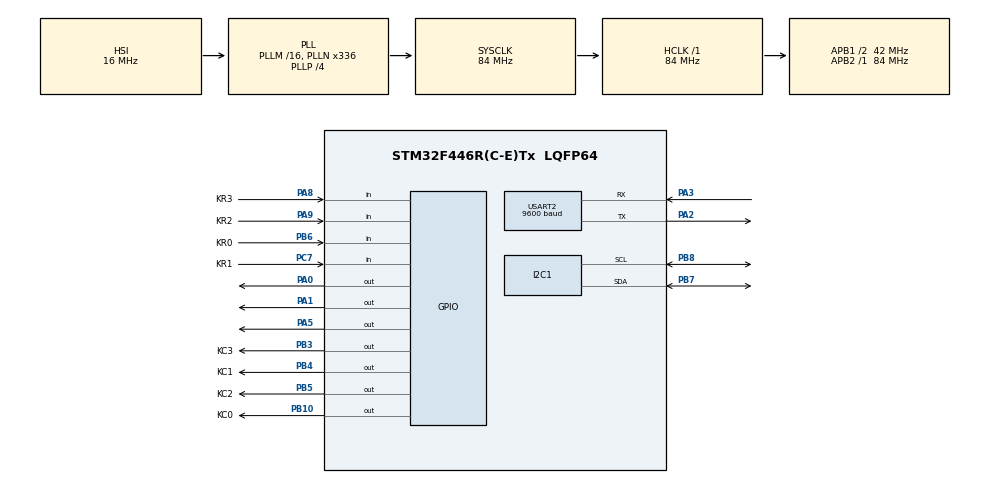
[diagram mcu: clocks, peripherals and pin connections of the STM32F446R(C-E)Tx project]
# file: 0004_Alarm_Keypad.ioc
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FREERTOS.Mutexes01=keypadMytexHandle,Dynamic,NULL;displayMutexHandle,Dynamic,NULL
FREERTOS.Tasks01=defaultTask,0,128,StartDefaultTask,Default,NULL,Dynamic,NULL,NULL;Task1,-3,128,StartTask01,Default,NULL,Dynamic,NULL,NULL;Task2,-3,128,StartTask02,Default,NULL,Dynamic,NULL,NULL;Task3,-3,128,StartTask03,Default,NULL,Dynamic,NULL,NULL
I2C1.I2C_Mode=I2C_Fast
Mcu.Family=STM32F4
Mcu.Name=STM32F446R(C-E)Tx
Mcu.Package=LQFP64
NVIC.PriorityGroup=NVIC_PRIORITYGROUP_4
NVIC.TIM6_DAC_IRQn=true\:0\:0\:false\:false\:true\:false\:false\:true\:true
NVIC.TimeBase=TIM6_DAC_IRQn
NVIC.TimeBaseIP=TIM6
PA0-WKUP.Signal=GPIO_Output
PA1.Signal=GPIO_Output
PA13.Mode=Serial_Wire
PA13.Signal=SYS_JTMS-SWDIO
PA14.Mode=Serial_Wire
PA14.Signal=SYS_JTCK-SWCLK
PA2.Mode=Asynchronous
PA2.Signal=USART2_TX
PA3.Mode=Asynchronous
PA3.Signal=USART2_RX
PA5.Signal=GPIO_Output
PA8.GPIO_Label=KR3
PA8.GPIO_PuPd=GPIO_PULLDOWN
PA8.Signal=GPIO_Input
PA9.GPIO_Label=KR2
PA9.GPIO_PuPd=GPIO_PULLDOWN
PA9.Signal=GPIO_Input
PB10.GPIO_Label=KC0
PB10.Signal=GPIO_Output
PB3.GPIO_Label=KC3
PB3.Signal=GPIO_Output
PB4.GPIO_Label=KC1
PB4.Signal=GPIO_Output
PB5.GPIO_Label=KC2
PB5.Signal=GPIO_Output
PB6.GPIO_Label=KR0
PB6.GPIO_PuPd=GPIO_PULLDOWN
PB6.Signal=GPIO_Input
PB7.Mode=I2C
PB7.Signal=I2C1_SDA
PB8.Mode=I2C
PB8.Signal=I2C1_SCL
PC14-OSC32_IN.Mode=LSE-External-Oscillator
PC14-OSC32_IN.Signal=RCC_OSC32_IN
PC15-OSC32_OUT.Mode=LSE-External-Oscillator
PC15-OSC32_OUT.Signal=RCC_OSC32_OUT
PC7.GPIO_Label=KR1
PC7.GPIO_PuPd=GPIO_PULLDOWN
PC7.Signal=GPIO_Input
PH0-OSC_IN.Mode=HSE-External-Oscillator
PH0-OSC_IN.Signal=RCC_OSC_IN
PH1-OSC_OUT.Mode=HSE-External-Oscillator
PH1-OSC_OUT.Signal=RCC_OSC_OUT
ProjectManager.HeapSize=0x200
ProjectManager.StackSize=0x400
ProjectManager.TargetToolchain=STM32CubeIDE
RCC.48MHZClocksFreq_Value=84000000
RCC.AHBFreq_Value=84000000
RCC.APB1CLKDivider=RCC_HCLK_DIV2
RCC.APB1Freq_Value=42000000
RCC.APB1TimFreq_Value=84000000
RCC.APB2Freq_Value=84000000
RCC.APB2TimFreq_Value=84000000
RCC.CortexFreq_Value=84000000
RCC.FLatency-AdvancedSettings=FLASH_LATENCY_2
RCC.HCLKFreq_Value=84000000
RCC.HSE_VALUE=8000000
RCC.HSI_VALUE=16000000
RCC.PLLN=336
RCC.PLLP=RCC_PLLP_DIV4
RCC.SYSCLKFreq_VALUE=84000000
RCC.SYSCLKSource=RCC_SYSCLKSOURCE_PLLCLK
RCC.USBFreq_Value=168000000
RCC.VCOOutputFreq_Value=336000000
USART2.BaudRate=9600
USART2.VirtualMode=VM_ASYNC
VP_FREERTOS_VS_CMSIS_V1.Mode=CMSIS_V1
VP_SYS_VS_tim6.Mode=TIM6
board=NUCLEO-F446RE

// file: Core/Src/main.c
/* USER CODE BEGIN Header */
/**
  **************************
  * @file           : main.c
  * @brief          : Main program body
  **************************
  * @attention
  *
  * Copyright (c) 2024 STMicroelectronics.
  * All rights reserved.
  *
  * This software is licensed under terms that can be found in the LICENSE file
  * in the root directory of this software component.
  * If no LICENSE file comes with this software, it is provided AS-IS.
  *
  **************************
  */
/* USER CODE END Header */
#include "main.h"
#include "cmsis_os.h"

/* USER CODE BEGIN Includes */
#include "Keypad4X4.h"
#include <stdio.h>
#include <string.h>
#include <stdlib.h>
#include "fonts.h"
#include "ssd1306.h"
#include "cmsis_os.h"

/* USER CODE END Includes */

I2C_HandleTypeDef hi2c1;

UART_HandleTypeDef huart2;

osThreadId defaultTaskHandle;
osThreadId Task1Handle;
osThreadId Task2Handle;
osThreadId Task3Handle;
osMutexId keypadMytexHandleHandle;
osMutexId displayMutexHandleHandle;
/* USER CODE BEGIN PV */
extern char key;
char hold[4];
char code[] = "0000"; // Setup code
char enteredUserCode[5];
int codeLength = 0;
int armed = 1;
/* USER CODE END PV */

void SystemClock_Config(void);
static void MX_GPIO_Init(void);
static void MX_USART2_UART_Init(void);
static void MX_I2C1_Init(void);
void StartDefaultTask(void const * argument);
void StartTask01(void const * argument);
void StartTask02(void const * argument);
void StartTask03(void const * argument);

int main(void)
{

  /* MCU Configuration--------------------------------------------------------*/

  /* Reset of all peripherals, Initializes the Flash interface and the Systick. */
  HAL_Init();

  /* Configure the system clock */
  SystemClock_Config();

  /* Initialize all configured peripherals */
  MX_GPIO_Init();
  MX_USART2_UART_Init();
  MX_I2C1_Init();
  /* USER CODE BEGIN 2 */
  /* USER CODE BEGIN 2 */
    SSD1306_Init();
    SSD1306_GotoXY (0,0);
    //SSD1306_Puts ("Voltage:", &Font_11x18, 1);
    SSD1306_Puts ("Enter Code:", &Font_11x18, 1);
    SSD1306_GotoXY (0, 30);
    //SSD1306_Puts (code, &Font_11x18, 1);
    SSD1306_UpdateScreen();
    SSD1306_UpdateScreen();

    HAL_GPIO_WritePin(GPIOC, GPIO_PIN_2, GPIO_PIN_SET);
    HAL_GPIO_WritePin(GPIOC, GPIO_PIN_3, GPIO_PIN_RESET);

    HAL_Delay (500);

  /* USER CODE END 2 */

  /* Create the mutex(es) */
  /* definition and creation of keypadMytexHandle */
  osMutexDef(keypadMytexHandle);
  keypadMytexHandleHandle = osMutexCreate(osMutex(keypadMytexHandle));

  /* definition and creation of displayMutexHandle */
  osMutexDef(displayMutexHandle);
  displayMutexHandleHandle = osMutexCreate(osMutex(displayMutexHandle));

  /* Create the thread(s) */
  /* definition and creation of defaultTask */
  osThreadDef(defaultTask, StartDefaultTask, osPriorityNormal, 0, 128);
  defaultTaskHandle = osThreadCreate(osThread(defaultTask), NULL);

  /* definition and creation of Task1 */
  osThreadDef(Task1, StartTask01, osPriorityIdle, 0, 128);
  Task1Handle = osThreadCreate(osThread(Task1), NULL);

  /* definition and creation of Task2 */
  osThreadDef(Task2, StartTask02, osPriorityIdle, 0, 128);
  Task2Handle = osThreadCreate(osThread(Task2), NULL);

  /* definition and creation of Task3 */
  osThreadDef(Task3, StartTask03, osPriorityIdle, 0, 128);
  Task3Handle = osThreadCreate(osThread(Task3), NULL);

  /* Start scheduler */
  osKernelStart();

  /* We should never get here as control is now taken by the scheduler */
  /* Infinite loop */
  /* USER CODE BEGIN WHILE */
  while (1)
  {

  }
  /* USER CODE END 3 */
}

void SystemClock_Config(void)
{
  RCC_OscInitTypeDef RCC_OscInitStruct = {0};
  RCC_ClkInitTypeDef RCC_ClkInitStruct = {0};

  /** Configure the main internal regulator output voltage
  */
  __HAL_RCC_PWR_CLK_ENABLE();
  __HAL_PWR_VOLTAGESCALING_CONFIG(PWR_REGULATOR_VOLTAGE_SCALE3);

  /** Initializes the RCC Oscillators according to the specified parameters
  * in the RCC_OscInitTypeDef structure.
  */
  RCC_OscInitStruct.OscillatorType = RCC_OSCILLATORTYPE_HSI;
  RCC_OscInitStruct.HSIState = RCC_HSI_ON;
  RCC_OscInitStruct.HSICalibrationValue = RCC_HSICALIBRATION_DEFAULT;
  RCC_OscInitStruct.PLL.PLLState = RCC_PLL_ON;
  RCC_OscInitStruct.PLL.PLLSource = RCC_PLLSOURCE_HSI;
  RCC_OscInitStruct.PLL.PLLM = 16;
  RCC_OscInitStruct.PLL.PLLN = 336;
  RCC_OscInitStruct.PLL.PLLP = RCC_PLLP_DIV4;
  RCC_OscInitStruct.PLL.PLLQ = 2;
  RCC_OscInitStruct.PLL.PLLR = 2;
  if (HAL_RCC_OscConfig(&RCC_OscInitStruct) != HAL_OK)
  {
    Error_Handler();
  }

  /** Initializes the CPU, AHB and APB buses clocks
  */
  RCC_ClkInitStruct.ClockType = RCC_CLOCKTYPE_HCLK|RCC_CLOCKTYPE_SYSCLK
                              |RCC_CLOCKTYPE_PCLK1|RCC_CLOCKTYPE_PCLK2;
  RCC_ClkInitStruct.SYSCLKSource = RCC_SYSCLKSOURCE_PLLCLK;
  RCC_ClkInitStruct.AHBCLKDivider = RCC_SYSCLK_DIV1;
  RCC_ClkInitStruct.APB1CLKDivider = RCC_HCLK_DIV2;
  RCC_ClkInitStruct.APB2CLKDivider = RCC_HCLK_DIV1;

  if (HAL_RCC_ClockConfig(&RCC_ClkInitStruct, FLASH_LATENCY_2) != HAL_OK)
  {
    Error_Handler();
  }
}

static void MX_I2C1_Init(void)
{

  hi2c1.Instance = I2C1;
  hi2c1.Init.ClockSpeed = 400000;
  hi2c1.Init.DutyCycle = I2C_DUTYCYCLE_2;
  hi2c1.Init.OwnAddress1 = 0;
  hi2c1.Init.AddressingMode = I2C_ADDRESSINGMODE_7BIT;
  hi2c1.Init.DualAddressMode = I2C_DUALADDRESS_DISABLE;
  hi2c1.Init.OwnAddress2 = 0;
  hi2c1.Init.GeneralCallMode = I2C_GENERALCALL_DISABLE;
  hi2c1.Init.NoStretchMode = I2C_NOSTRETCH_DISABLE;
  if (HAL_I2C_Init(&hi2c1) != HAL_OK)
  {
    Error_Handler();
  }

}

static void MX_USART2_UART_Init(void)
{

  huart2.Instance = USART2;
  huart2.Init.BaudRate = 9600;
  huart2.Init.WordLength = UART_WORDLENGTH_8B;
  huart2.Init.StopBits = UART_STOPBITS_1;
  huart2.Init.Parity = UART_PARITY_NONE;
  huart2.Init.Mode = UART_MODE_TX_RX;
  huart2.Init.HwFlowCtl = UART_HWCONTROL_NONE;
  huart2.Init.OverSampling = UART_OVERSAMPLING_16;
  if (HAL_UART_Init(&huart2) != HAL_OK)
  {
    Error_Handler();
  }

}

static void MX_GPIO_Init(void)
{
  GPIO_InitTypeDef GPIO_InitStruct = {0};

  /* GPIO Ports Clock Enable */
  __HAL_RCC_GPIOC_CLK_ENABLE();
  __HAL_RCC_GPIOH_CLK_ENABLE();
  __HAL_RCC_GPIOA_CLK_ENABLE();
  __HAL_RCC_GPIOB_CLK_ENABLE();

  /*Configure GPIO pin Output Level */
  HAL_GPIO_WritePin(GPIOA, GPIO_PIN_0|GPIO_PIN_1|GPIO_PIN_5, GPIO_PIN_RESET);

  /*Configure GPIO pin Output Level */
  HAL_GPIO_WritePin(GPIOB, KC0_Pin|KC3_Pin|KC1_Pin|KC2_Pin, GPIO_PIN_RESET);

  /*Configure GPIO pins : PA0 PA1 PA5 */
  GPIO_InitStruct.Pin = GPIO_PIN_0|GPIO_PIN_1|GPIO_PIN_5;
  GPIO_InitStruct.Mode = GPIO_MODE_OUTPUT_PP;
  GPIO_InitStruct.Pull = GPIO_NOPULL;
  GPIO_InitStruct.Speed = GPIO_SPEED_FREQ_LOW;
  HAL_GPIO_Init(GPIOA, &GPIO_InitStruct);

  /*Configure GPIO pins : KC0_Pin KC3_Pin KC1_Pin KC2_Pin */
  GPIO_InitStruct.Pin = KC0_Pin|KC3_Pin|KC1_Pin|KC2_Pin;
  GPIO_InitStruct.Mode = GPIO_MODE_OUTPUT_PP;
  GPIO_InitStruct.Pull = GPIO_NOPULL;
  GPIO_InitStruct.Speed = GPIO_SPEED_FREQ_LOW;
  HAL_GPIO_Init(GPIOB, &GPIO_InitStruct);

  /*Configure GPIO pin : KR1_Pin */
  GPIO_InitStruct.Pin = KR1_Pin;
  GPIO_InitStruct.Mode = GPIO_MODE_INPUT;
  GPIO_InitStruct.Pull = GPIO_PULLDOWN;
  HAL_GPIO_Init(KR1_GPIO_Port, &GPIO_InitStruct);

  /*Configure GPIO pins : KR3_Pin KR2_Pin */
  GPIO_InitStruct.Pin = KR3_Pin|KR2_Pin;
  GPIO_InitStruct.Mode = GPIO_MODE_INPUT;
  GPIO_InitStruct.Pull = GPIO_PULLDOWN;
  HAL_GPIO_Init(GPIOA, &GPIO_InitStruct);

  /*Configure GPIO pin : KR0_Pin */
  GPIO_InitStruct.Pin = KR0_Pin;
  GPIO_InitStruct.Mode = GPIO_MODE_INPUT;
  GPIO_InitStruct.Pull = GPIO_PULLDOWN;
  HAL_GPIO_Init(KR0_GPIO_Port, &GPIO_InitStruct);

}

void StartDefaultTask(void const * argument)
{
  for(;;)
  {
    osDelay(1);
  }
}

void StartTask01(void const * argument)
{
  /* USER CODE BEGIN StartTask01 */
  /* Infinite loop */
	for(;;) {
		osDelay(1);

		osMutexWait(keypadMytexHandleHandle, osWaitForever);
		key = Get_Key();
		osMutexRelease(keypadMytexHandleHandle);

		if (key == '*') {
			if (!armed) {
				// If the system is not armed, arm it with the entered code
				if (codeLength == 4) {
//					strcpy(userCode, enteredUserCode);
					strcpy(code, enteredUserCode);
					armed = 1;
					HAL_GPIO_WritePin(GPIOC, GPIO_PIN_2, GPIO_PIN_SET);
					HAL_GPIO_WritePin(GPIOC, GPIO_PIN_3, GPIO_PIN_RESET);
				} else {
					// If code length is not 4, it's an invalid code
					SSD1306_Puts("INVALID", &Font_11x18, 1);
				}
			} else {
				// If the system is armed, disarm it if the entered code matches
				if (strncmp(code, enteredUserCode, 4) == 0) {
					armed = 0;
					HAL_GPIO_WritePin(GPIOC, GPIO_PIN_3, GPIO_PIN_SET);
					HAL_GPIO_WritePin(GPIOC, GPIO_PIN_2, GPIO_PIN_RESET);
				} else {
					// If code doesn't match, it's an invalid code
					SSD1306_Puts("INVALID", &Font_11x18, 1);
				}
			}

		} else {
			// Collect keys to form the entered code
			if (codeLength < 4) {
				enteredUserCode[codeLength] = key;
				codeLength++;
			} else {
				// If more than 4 keys are entered, reset the code.
				memset(enteredUserCode, 0, sizeof(enteredUserCode));
				codeLength = 0;
			}
		}
	}
  /* USER CODE END StartTask01 */
}

void StartTask02(void const * argument)
{
  /* USER CODE BEGIN StartTask02 */
  /* Infinite loop */
  for(;;)
  {
	  osDelay(1);

	  osMutexWait(displayMutexHandleHandle, osWaitForever);
	  SSD1306_Clear();
	  SSD1306_GotoXY(0, 0);
	  SSD1306_Puts("Enter Code:", &Font_11x18, 1);
	  SSD1306_GotoXY(0, 30);

	  char displayCode[5];
	  for (int i = 0; i < codeLength; i++)
	  {
		displayCode[i] = '*';
	  }
	  displayCode[codeLength] = '\0';

	  SSD1306_Puts(displayCode, &Font_11x18, 1);
	  SSD1306_UpdateScreen();
	  osMutexRelease(displayMutexHandleHandle);
  }
  /* USER CODE END StartTask02 */
}

void StartTask03(void const * argument)
{
  for(;;)
  {
    osDelay(1);
  }
}

void HAL_TIM_PeriodElapsedCallback(TIM_HandleTypeDef *htim)
{
  if (htim->Instance == TIM6) {
    HAL_IncTick();
  }
}

void Error_Handler(void)
{
  __disable_irq();
  while (1)
  {
  }
}
